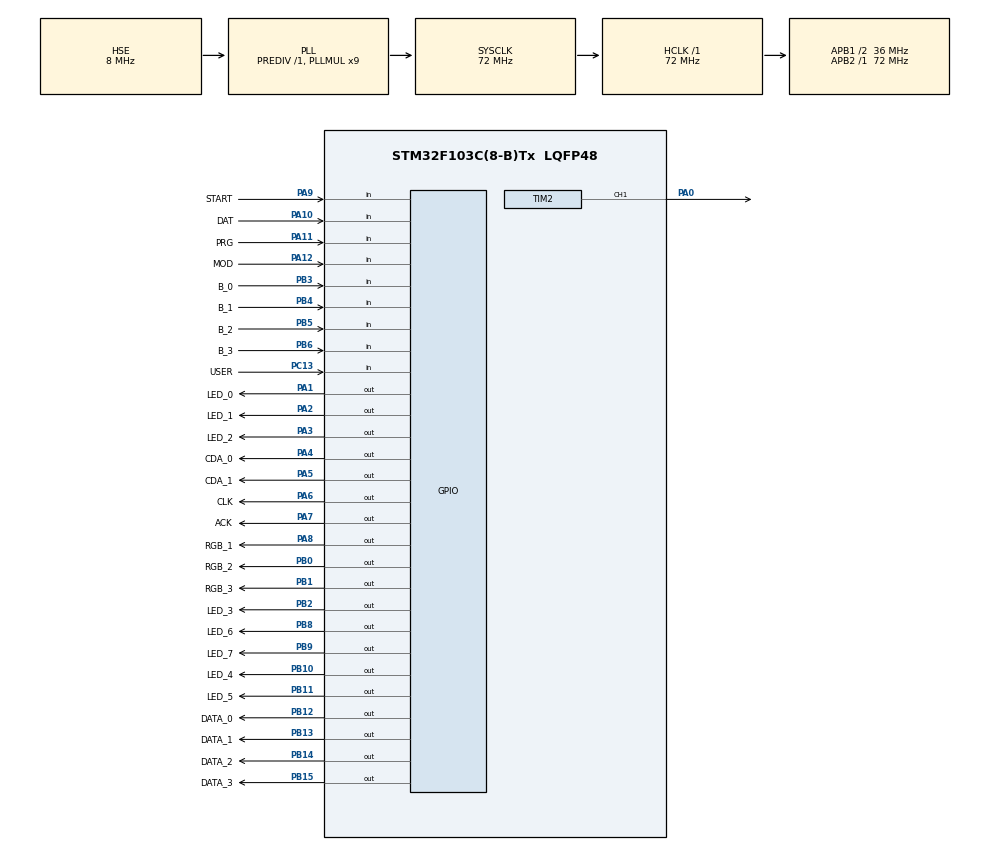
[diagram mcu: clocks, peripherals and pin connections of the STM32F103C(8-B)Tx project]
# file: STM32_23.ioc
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Mcu.Family=STM32F1
Mcu.Name=STM32F103C(8-B)Tx
Mcu.Package=LQFP48
NVIC.PriorityGroup=NVIC_PRIORITYGROUP_4
NVIC.TIM2_IRQn=true\:0\:0\:false\:false\:true\:true\:true\:true
PA0-WKUP.Signal=S_TIM2_CH1_ETR
PA1.GPIO_Label=LED_0
PA1.Signal=GPIO_Output
PA10.GPIO_Label=DAT
PA10.Signal=GPIO_Input
PA11.GPIO_Label=PRG
PA11.Signal=GPIO_Input
PA12.GPIO_Label=MOD
PA12.Signal=GPIO_Input
PA13.Mode=Serial_Wire
PA13.Signal=SYS_JTMS-SWDIO
PA14.Mode=Serial_Wire
PA14.Signal=SYS_JTCK-SWCLK
PA2.GPIO_Label=LED_1
PA2.Signal=GPIO_Output
PA3.GPIO_Label=LED_2
PA3.Signal=GPIO_Output
PA4.GPIO_Label=CDA_0
PA4.Signal=GPIO_Output
PA5.GPIO_Label=CDA_1
PA5.Signal=GPIO_Output
PA6.GPIO_Label=CLK
PA6.Signal=GPIO_Output
PA7.GPIO_Label=ACK
PA7.Signal=GPIO_Output
PA8.GPIO_Label=RGB_1
PA8.Signal=GPIO_Output
PA9.GPIO_Label=START
PA9.Signal=GPIO_Input
PB0.GPIO_Label=RGB_2
PB0.Signal=GPIO_Output
PB1.GPIO_Label=RGB_3
PB1.Signal=GPIO_Output
PB10.GPIO_Label=LED_4
PB10.Signal=GPIO_Output
PB11.GPIO_Label=LED_5
PB11.Signal=GPIO_Output
PB12.GPIO_Label=DATA_0
PB12.Signal=GPIO_Output
PB13.GPIO_Label=DATA_1
PB13.Signal=GPIO_Output
PB14.GPIO_Label=DATA_2
PB14.Signal=GPIO_Output
PB15.GPIO_Label=DATA_3
PB15.Signal=GPIO_Output
PB2.GPIO_Label=LED_3
PB2.Signal=GPIO_Output
PB3.GPIO_Label=B_0
PB3.Signal=GPIO_Input
PB4.GPIO_Label=B_1
PB4.Signal=GPIO_Input
PB5.GPIO_Label=B_2
PB5.Signal=GPIO_Input
PB6.GPIO_Label=B_3
PB6.Signal=GPIO_Input
PB8.GPIO_Label=LED_6
PB8.Signal=GPIO_Output
PB9.GPIO_Label=LED_7
PB9.Signal=GPIO_Output
PC13-TAMPER-RTC.GPIO_Label=USER
PC13-TAMPER-RTC.Signal=GPIO_Input
PD0-OSC_IN.Mode=HSE-External-Oscillator
PD0-OSC_IN.Signal=RCC_OSC_IN
PD1-OSC_OUT.Mode=HSE-External-Oscillator
PD1-OSC_OUT.Signal=RCC_OSC_OUT
ProjectManager.HeapSize=0x200
ProjectManager.StackSize=0x400
ProjectManager.TargetToolchain=STM32CubeIDE
RCC.AHBFreq_Value=72000000
RCC.APB1CLKDivider=RCC_HCLK_DIV2
RCC.APB1Freq_Value=36000000
RCC.APB1TimFreq_Value=72000000
RCC.APB2Freq_Value=72000000
RCC.APB2TimFreq_Value=72000000
RCC.HCLKFreq_Value=72000000
RCC.PLLMUL=RCC_PLL_MUL9
RCC.PLLSourceVirtual=RCC_PLLSOURCE_HSE
RCC.SYSCLKFreq_VALUE=72000000
RCC.SYSCLKSource=RCC_SYSCLKSOURCE_PLLCLK
RCC.USBFreq_Value=72000000
SH.S_TIM2_CH1_ETR.0=TIM2_CH1,Output Compare1 CH1
TIM2.Channel-Output\ Compare1\ CH1=TIM_CHANNEL_1
TIM2.Period=100
TIM2.Prescaler=7199
VP_TIM2_VS_ClockSourceINT.Mode=Internal
board=custom

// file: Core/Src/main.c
/* USER CODE BEGIN Header */
/**
  ******************************************************************************
  * @file           : main.c
  * @brief          : Main program body
  ******************************************************************************
  * @attention
  *
  * Copyright (c) 2025 STMicroelectronics.
  * All rights reserved.
  *
  * This software is licensed under terms that can be found in the LICENSE file
  * in the root directory of this software component.
  * If no LICENSE file comes with this software, it is provided AS-IS.
  *
  ******************************************************************************
  */
/* USER CODE END Header */
#include "main.h"

TIM_HandleTypeDef htim2;

/* USER CODE BEGIN PV */
typedef enum {
    STATE_0,  // Afișare PRG, MOD, DAT, START
    STATE_1,  // Așteaptă START
    STATE_2,  // Configurare CDA - CLK OUT, ACK IN, DATA OUT
    STATE_3,  // Așteaptă DAT
    STATE_4,  // Verificare MOD
    STATE_5,  // QAM-Tx - CLK OUT, ACK IN, DATA OUT
    STATE_6,  // QAM-Rx - CLK IN, ACK OUT, DATA IN
} FSM_State_t;// enumerare care defineste un nou tip de date

FSM_State_t currentState = STATE_0;  // Inițializare în stare 0

typedef enum {
    MODE_QAM_TX,  // Transmitere (ARM → DSP)
    MODE_QAM_RX   // Receptie (DSP → ARM)
} OperationMode_t;

OperationMode_t currentMode = MODE_QAM_TX;  // Inițializare pe transmitere
/* USER CODE END PV */

void SystemClock_Config(void);
static void MX_GPIO_Init(void);
static void MX_TIM2_Init(void);
/* USER CODE BEGIN PFP */
void ProcessFSM(void);
void Configure_GPIO_Mode(OperationMode_t mode);
/* USER CODE END PFP */

int main(void)
{

  /* MCU Configuration--------------------------------------------------------*/

  /* Reset of all peripherals, Initializes the Flash interface and the Systick. */
  HAL_Init();

  /* Configure the system clock */
  SystemClock_Config();

  /* Initialize all configured peripherals */
  MX_GPIO_Init();
  MX_TIM2_Init();
  /* USER CODE BEGIN 2 */
  HAL_NVIC_SetPriority(TIM2_IRQn, 0, 0);
  HAL_NVIC_EnableIRQ(TIM2_IRQn);
  HAL_TIM_Base_Start_IT(&htim2);

  Configure_GPIO_Mode(MODE_QAM_TX);  // Inițializare inițială în Tx
  /* USER CODE END 2 */

  /* Infinite loop */
  while (1)
  {

  }
}

void SystemClock_Config(void)
{
  RCC_OscInitTypeDef RCC_OscInitStruct = {0};
  RCC_ClkInitTypeDef RCC_ClkInitStruct = {0};

  /** Initializes the RCC Oscillators according to the specified parameters
  * in the RCC_OscInitTypeDef structure.
  */
  RCC_OscInitStruct.OscillatorType = RCC_OSCILLATORTYPE_HSE;
  RCC_OscInitStruct.HSEState = RCC_HSE_ON;
  RCC_OscInitStruct.HSEPredivValue = RCC_HSE_PREDIV_DIV1;
  RCC_OscInitStruct.HSIState = RCC_HSI_ON;
  RCC_OscInitStruct.PLL.PLLState = RCC_PLL_ON;
  RCC_OscInitStruct.PLL.PLLSource = RCC_PLLSOURCE_HSE;
  RCC_OscInitStruct.PLL.PLLMUL = RCC_PLL_MUL9;
  if (HAL_RCC_OscConfig(&RCC_OscInitStruct) != HAL_OK)
  {
    Error_Handler();
  }

  /** Initializes the CPU, AHB and APB buses clocks
  */
  RCC_ClkInitStruct.ClockType = RCC_CLOCKTYPE_HCLK|RCC_CLOCKTYPE_SYSCLK
                              |RCC_CLOCKTYPE_PCLK1|RCC_CLOCKTYPE_PCLK2;
  RCC_ClkInitStruct.SYSCLKSource = RCC_SYSCLKSOURCE_PLLCLK;
  RCC_ClkInitStruct.AHBCLKDivider = RCC_SYSCLK_DIV1;
  RCC_ClkInitStruct.APB1CLKDivider = RCC_HCLK_DIV2;
  RCC_ClkInitStruct.APB2CLKDivider = RCC_HCLK_DIV1;

  if (HAL_RCC_ClockConfig(&RCC_ClkInitStruct, FLASH_LATENCY_2) != HAL_OK)
  {
    Error_Handler();
  }
}

static void MX_TIM2_Init(void)
{

  TIM_ClockConfigTypeDef sClockSourceConfig = {0};
  TIM_MasterConfigTypeDef sMasterConfig = {0};
  TIM_OC_InitTypeDef sConfigOC = {0};

  htim2.Instance = TIM2;
  htim2.Init.Prescaler = 7199;
  htim2.Init.CounterMode = TIM_COUNTERMODE_UP;
  htim2.Init.Period = 100;
  htim2.Init.ClockDivision = TIM_CLOCKDIVISION_DIV1;
  htim2.Init.AutoReloadPreload = TIM_AUTORELOAD_PRELOAD_DISABLE;
  if (HAL_TIM_Base_Init(&htim2) != HAL_OK)
  {
    Error_Handler();
  }
  sClockSourceConfig.ClockSource = TIM_CLOCKSOURCE_INTERNAL;
  if (HAL_TIM_ConfigClockSource(&htim2, &sClockSourceConfig) != HAL_OK)
  {
    Error_Handler();
  }
  if (HAL_TIM_OC_Init(&htim2) != HAL_OK)
  {
    Error_Handler();
  }
  sMasterConfig.MasterOutputTrigger = TIM_TRGO_RESET;
  sMasterConfig.MasterSlaveMode = TIM_MASTERSLAVEMODE_DISABLE;
  if (HAL_TIMEx_MasterConfigSynchronization(&htim2, &sMasterConfig) != HAL_OK)
  {
    Error_Handler();
  }
  sConfigOC.OCMode = TIM_OCMODE_TIMING;
  sConfigOC.Pulse = 0;
  sConfigOC.OCPolarity = TIM_OCPOLARITY_HIGH;
  sConfigOC.OCFastMode = TIM_OCFAST_DISABLE;
  if (HAL_TIM_OC_ConfigChannel(&htim2, &sConfigOC, TIM_CHANNEL_1) != HAL_OK)
  {
    Error_Handler();
  }
  HAL_TIM_MspPostInit(&htim2);

}

static void MX_GPIO_Init(void)
{
  GPIO_InitTypeDef GPIO_InitStruct = {0};

  /* GPIO Ports Clock Enable */
  __HAL_RCC_GPIOC_CLK_ENABLE();
  __HAL_RCC_GPIOD_CLK_ENABLE();
  __HAL_RCC_GPIOA_CLK_ENABLE();
  __HAL_RCC_GPIOB_CLK_ENABLE();

  /*Configure GPIO pin Output Level */
  HAL_GPIO_WritePin(GPIOA, LED_0_Pin|LED_1_Pin|LED_2_Pin|CDA_0_Pin
                          |CDA_1_Pin|CLK_Pin|ACK_Pin|RGB_1_Pin, GPIO_PIN_RESET);

  /*Configure GPIO pin Output Level */
  HAL_GPIO_WritePin(GPIOB, RGB_2_Pin|RGB_3_Pin|LED_3_Pin|LED_4_Pin
                          |LED_5_Pin|DATA_0_Pin|DATA_1_Pin|DATA_2_Pin
                          |DATA_3_Pin|LED_6_Pin|LED_7_Pin, GPIO_PIN_RESET);

  /*Configure GPIO pin : USER_Pin */
  GPIO_InitStruct.Pin = USER_Pin;
  GPIO_InitStruct.Mode = GPIO_MODE_INPUT;
  GPIO_InitStruct.Pull = GPIO_NOPULL;
  HAL_GPIO_Init(USER_GPIO_Port, &GPIO_InitStruct);

  /*Configure GPIO pins : LED_0_Pin LED_1_Pin LED_2_Pin CDA_0_Pin
                           CDA_1_Pin CLK_Pin ACK_Pin RGB_1_Pin */
  GPIO_InitStruct.Pin = LED_0_Pin|LED_1_Pin|LED_2_Pin|CDA_0_Pin
                          |CDA_1_Pin|CLK_Pin|ACK_Pin|RGB_1_Pin;
  GPIO_InitStruct.Mode = GPIO_MODE_OUTPUT_PP;
  GPIO_InitStruct.Pull = GPIO_NOPULL;
  GPIO_InitStruct.Speed = GPIO_SPEED_FREQ_LOW;
  HAL_GPIO_Init(GPIOA, &GPIO_InitStruct);

  /*Configure GPIO pins : RGB_2_Pin RGB_3_Pin LED_3_Pin LED_4_Pin
                           LED_5_Pin DATA_0_Pin DATA_1_Pin DATA_2_Pin
                           DATA_3_Pin LED_6_Pin LED_7_Pin */
  GPIO_InitStruct.Pin = RGB_2_Pin|RGB_3_Pin|LED_3_Pin|LED_4_Pin
                          |LED_5_Pin|DATA_0_Pin|DATA_1_Pin|DATA_2_Pin
                          |DATA_3_Pin|LED_6_Pin|LED_7_Pin;
  GPIO_InitStruct.Mode = GPIO_MODE_OUTPUT_PP;
  GPIO_InitStruct.Pull = GPIO_NOPULL;
  GPIO_InitStruct.Speed = GPIO_SPEED_FREQ_LOW;
  HAL_GPIO_Init(GPIOB, &GPIO_InitStruct);

  /*Configure GPIO pins : START_Pin DAT_Pin PRG_Pin MOD_Pin */
  GPIO_InitStruct.Pin = START_Pin|DAT_Pin|PRG_Pin|MOD_Pin;
  GPIO_InitStruct.Mode = GPIO_MODE_INPUT;
  GPIO_InitStruct.Pull = GPIO_NOPULL;
  HAL_GPIO_Init(GPIOA, &GPIO_InitStruct);

  /*Configure GPIO pins : B_0_Pin B_1_Pin B_2_Pin B_3_Pin */
  GPIO_InitStruct.Pin = B_0_Pin|B_1_Pin|B_2_Pin|B_3_Pin;
  GPIO_InitStruct.Mode = GPIO_MODE_INPUT;
  GPIO_InitStruct.Pull = GPIO_NOPULL;
  HAL_GPIO_Init(GPIOB, &GPIO_InitStruct);

}

/* USER CODE BEGIN 4 */

static uint8_t cda;
void ARM_WR_CDA(void)
{
    static int subState = 10;

    switch (subState)
    {
        case 10:
            // Calculare CDA = 2 * PRG + MOD
            uint8_t prg = HAL_GPIO_ReadPin(GPIOA, PRG_PIN); // PRG
            uint8_t mod = HAL_GPIO_ReadPin(GPIOA, MOD_PIN); // MOD
            cda = 2 * prg + mod;

            subState = 11;
            break;

        case 11:
            HAL_GPIO_WritePin(GPIOA, CLK_PIN, GPIO_PIN_RESET); // CLK LOW
            // Scriem bitii CDA pe PA4 (bit0) și PA5 (bit1)
            HAL_GPIO_WritePin(GPIOA, CDA_0_PIN, (cda & 0x01) ? GPIO_PIN_SET : GPIO_PIN_RESET);
            HAL_GPIO_WritePin(GPIOA, CDA_0_PIN, (cda & 0x02) ? GPIO_PIN_SET : GPIO_PIN_RESET);
            subState = 12;
            break;

        case 12:
            HAL_GPIO_WritePin(GPIOA, CLK_PIN, GPIO_PIN_SET);   // CLK HIGH
            subState = 13;
            break;

        case 13:
            // Asteapta ca DSP-ul sa traga ACK pe 0 (LOW)
            if (HAL_GPIO_ReadPin(GPIOA, ACK_PIN) == GPIO_PIN_RESET)
            {
                subState = 14;
            }
            break;

        case 14:
            // Asteapta ca DSP-ul sa ridice ACK pe 1 (HIGH)
            if (HAL_GPIO_ReadPin(GPIOA, ACK_PIN) == GPIO_PIN_SET)
            {
                subState = 10;
                currentState = STATE_0; // Revenim la starea initiala
            }
            break;

    }
}

void ARM_WR_DATA(void)
{
    static int subState = 30;

    switch (subState)
    {
        case 30:
            uint8_t D0   = HAL_GPIO_ReadPin(GPIOB, B_0_Pin);
            uint8_t D1   = HAL_GPIO_ReadPin(GPIOB, B_1_Pin);
            uint8_t D2   = HAL_GPIO_ReadPin(GPIOB, B_2_Pin);
            uint8_t D3 = HAL_GPIO_ReadPin(GPIOB, B_3_Pin);

            HAL_GPIO_WritePin(GPIOB, DATA_0_Pin, D0);
            HAL_GPIO_WritePin(GPIOB, DATA_1_Pin, D1);
            HAL_GPIO_WritePin(GPIOB, DATA_2_Pin, D2);
            HAL_GPIO_WritePin(GPIOB, DATA_3_Pin, D3);

            // CLK = 0
            HAL_GPIO_WritePin(GPIOA, CLK_PIN, GPIO_PIN_RESET);
            subState = 31;
            break;

        case 31:
            // CLK = 1 (trimitem semnal de ceas)
            HAL_GPIO_WritePin(GPIOA, CLK_PIN, GPIO_PIN_SET);
            subState = 32;
            break;

        case 32:
            // Așteptăm ca ACK să devină 0 (de la DSP)
            if (HAL_GPIO_ReadPin(GPIOA, ACK_PIN) == GPIO_PIN_RESET)
                subState = 33;
            break;

        case 33:
            // Așteptăm ACK = 1 => confirmare finală
            if (HAL_GPIO_ReadPin(GPIOA, ACK_PIN) == GPIO_PIN_SET)
            {
                subState = 30;
                currentState = STATE_0; // revenim la starea inițială
            }
            break;
    }
}

void ARM_RD_DATA(void)
{
    static int subState = 60;

    switch (subState)
    {
        case 60:
            // Așteptăm CLK să fie LOW
            if (HAL_GPIO_ReadPin(GPIOA, CLK_Pin) == GPIO_PIN_RESET)
                subState = 61;
            break;

        case 61:
            // Așteptăm CLK să devină HIGH
            if (HAL_GPIO_ReadPin(GPIOA, CLK) == GPIO_PIN_SET)
                subState = 62;
            break;

        case 62:
        {
        	uint8_t received_data = (HAL_GPIO_ReadPin(GPIOB, DATA_0_Pin) << 3) |
        	                        (HAL_GPIO_ReadPin(GPIOB, DATA_1_Pin) << 2) |
        	                        (HAL_GPIO_ReadPin(GPIOB, DATA_2_Pin) << 1) |
        	                        (HAL_GPIO_ReadPin(GPIOB, DATA_3_Pin));

        	HAL_GPIO_WritePin(GPIOB, LED_4_PIN, received_data & 0x01 ? GPIO_PIN_SET : GPIO_PIN_RESET); // LED0
        	HAL_GPIO_WritePin(GPIOB, LED_5_PIN, received_data & 0x02 ? GPIO_PIN_SET : GPIO_PIN_RESET); // LED1
        	HAL_GPIO_WritePin(GPIOB, LED_6_PIN, received_data & 0x04 ? GPIO_PIN_SET : GPIO_PIN_RESET); // LED2
        	HAL_GPIO_WritePin(GPIOB, LED_7_PIN, received_data & 0x08 ? GPIO_PIN_SET : GPIO_PIN_RESET); // LED3

            // ACK = 0
            HAL_GPIO_WritePin(GPIOA, ACK_PIN, GPIO_PIN_RESET);
            subState = 63;
        }

        case 63:
            // ACK = 1
            HAL_GPIO_WritePin(GPIOA, ACK_PIN, GPIO_PIN_SET);

            if (HAL_GPIO_ReadPin(GPIOA, ACK_PIN) == GPIO_PIN_SET)
            {
                subState = 60;
                currentState = STATE_0;
            }
            break;

        default:
            break;
    }
}

void ProcessFSM(void)// automat cu stari finite
{

	// Aprindere LED-uri externe în funcție de butoane apăsate
    uint8_t prg   = HAL_GPIO_ReadPin(GPIOA, PRG_PIN);
    uint8_t mod   = HAL_GPIO_ReadPin(GPIOA, MOD_PIN);
    uint8_t dat   = HAL_GPIO_ReadPin(GPIOA, DAT_PIN);
    uint8_t start = HAL_GPIO_ReadPin(GPIOA, START_PIN);

    HAL_GPIO_WritePin(GPIOA, LED_0_PIN,  prg   ? GPIO_PIN_SET : GPIO_PIN_RESET); // PRG extern
    HAL_GPIO_WritePin(GPIOA, LED_1_PIN,  mod   ? GPIO_PIN_SET : GPIO_PIN_RESET); // MOD extern
    HAL_GPIO_WritePin(GPIOA, LED_2_PIN,  dat   ? GPIO_PIN_SET : GPIO_PIN_RESET); // DAT extern
    HAL_GPIO_WritePin(GPIOB, LED_3_PIN, start ? GPIO_PIN_SET : GPIO_PIN_RESET); // START extern

    switch (currentState)
    {
        case STATE_0:
            // resetare data
            HAL_GPIO_WritePin(GPIOB, DATA_3_PIN, GPIO_PIN_RESET); // DATA3 OFF
            HAL_GPIO_WritePin(GPIOB, DATA_2_PIN, GPIO_PIN_RESET); // DATA2 OFF
            HAL_GPIO_WritePin(GPIOB, DATA_1_PIN, GPIO_PIN_RESET); // DATA1 OFF
            HAL_GPIO_WritePin(GPIOB, DATA_0_PIN, GPIO_PIN_RESET); // DATA0 OFF

            currentState = STATE_1;
            break;

        case STATE_1:
            if (HAL_GPIO_ReadPin(GPIOA, START_PIN) == GPIO_PIN_SET) // START apasat
            {
                currentState = STATE_2;
            }
            break;

        case STATE_2:
            // Configurare CLK OUT, ACK IN, DATA OUT
            Configure_GPIO_Mode(MODE_QAM_TX);

            ARM_WR_CDA();

            currentState = STATE_3;
            break;

        case STATE_3:
            if (HAL_GPIO_ReadPin(GPIOA, DAT_PIN) == GPIO_PIN_SET) // DAT apasat
            {
                currentState = STATE_4;
            }
            break;

        case STATE_4:
            if (HAL_GPIO_ReadPin(GPIOA, MOD_PIN) == GPIO_PIN_RESET) // MOD = 1 (Tx)
            {
                currentState = STATE_5;
            }
            else  // MOD = 0 (Rx)
            {
                currentState = STATE_6;
            }
            break;

        case STATE_5:
            // Setam directia GPIO pentru transmisie
            Configure_GPIO_Mode(MODE_QAM_TX);

            // Generam semnal de CLK pentru a semnala ca datele sunt gata
            HAL_GPIO_WritePin(GPIOA, CLK_PIN, GPIO_PIN_SET); // CLK HIGH
            HAL_Delay(1); // Mic delay pentru stabilitate

            HAL_GPIO_WritePin(GPIOA, CLK_PIN, GPIO_PIN_RESET); // CLK LOW
            HAL_Delay(1); // Mic delay

            // Așteptăm ACK de la DSP (PA7 trebuie să devină HIGH)
            while (HAL_GPIO_ReadPin(GPIOA, ACK_PIN) == GPIO_PIN_RESET)
            {
                // Așteaptă
            }

            // (Opțional) Așteptăm să revină ACK la 0 (front de coborâre)
            while (HAL_GPIO_ReadPin(GPIOA, ACK_PIN) == GPIO_PIN_SET)
            {
                // Așteaptă ACK să fie eliberat
            }

            // Aprindere LED-uri corespunzătoare datelor transmise/ simbolului QAM transmis
            uint8_t d0 = HAL_GPIO_ReadPin(GPIOB, DATA_0_PIN); // DATA0
            uint8_t d1 = HAL_GPIO_ReadPin(GPIOB, DATA_1_PIN); // DATA1
            uint8_t d2 = HAL_GPIO_ReadPin(GPIOB, DATA_2_PIN); // DATA2
            uint8_t d3 = HAL_GPIO_ReadPin(GPIOB, DATA_3_PIN); // DATA3

            HAL_GPIO_WritePin(GPIOB, LED_4_PIN, d0 ? GPIO_PIN_SET : GPIO_PIN_RESET); // LED0
            HAL_GPIO_WritePin(GPIOB, LED_5_PIN, d1 ? GPIO_PIN_SET : GPIO_PIN_RESET); // LED1
            HAL_GPIO_WritePin(GPIOB, LED_6_PIN, d2 ? GPIO_PIN_SET : GPIO_PIN_RESET); // LED2
            HAL_GPIO_WritePin(GPIOB, LED_7_PIN, d3 ? GPIO_PIN_SET : GPIO_PIN_RESET); // LED3

            ARM_WR_DATA();
            currentState = STATE_0; // Revenim la stare inițială
            break;

        case STATE_6:
            // Setam directia GPIO pentru receptie
            Configure_GPIO_Mode(MODE_QAM_RX);

            // Asteptam semnal de ceas de la DSP
            if (HAL_GPIO_ReadPin(GPIOA, GPIO_PIN_6) == GPIO_PIN_SET) // CLK HIGH detectat
            {
                // Citim datele de la DSP
                uint8_t received_data = (HAL_GPIO_ReadPin(GPIOB, DATA_3_PIN) << 3) |
                                        (HAL_GPIO_ReadPin(GPIOB, DATA_2_PIN) << 2) |
                                        (HAL_GPIO_ReadPin(GPIOB, DATA_1_PIN) << 1) |
                                        (HAL_GPIO_ReadPin(GPIOB, DATA_0_PIN));

                //extragere biti din byte
                uint8_t d0 = received_data & 0x01;
                uint8_t d1 = (received_data >> 1) & 0x01;
                uint8_t d2 = (received_data >> 2) & 0x01;
                uint8_t d3 = (received_data >> 3) & 0x01;

                HAL_GPIO_WritePin(GPIOB, LED_4_PIN, d0 ? GPIO_PIN_SET : GPIO_PIN_RESET); // LED0
                HAL_GPIO_WritePin(GPIOB, LED_5_PIN, d1 ? GPIO_PIN_SET : GPIO_PIN_RESET); // LED1
                HAL_GPIO_WritePin(GPIOB, LED_6_PIN, d2 ? GPIO_PIN_SET : GPIO_PIN_RESET); // LED2
                HAL_GPIO_WritePin(GPIOB, LED_7_PIN, d3 ? GPIO_PIN_SET : GPIO_PIN_RESET); // LED3

                // Trimitem semnal de confirmare (ACK)
                HAL_GPIO_WritePin(GPIOA, ACK_PIN, GPIO_PIN_SET); // ACK HIGH
                HAL_Delay(100);
                HAL_GPIO_WritePin(GPIOA, ACK_PIN, GPIO_PIN_RESET); // ACK LOW

                ARM_RD_DATA();

                currentState = STATE_0;
            }
            break;

    }
}

void Configure_GPIO_Mode(OperationMode_t mode)
{
    GPIO_InitTypeDef GPIO_InitStruct = {0};

    GPIO_InitStruct.Pin = DATA_0_PIN | DATA_1_PIN | DATA_2_PIN | DATA_3_PIN;
    GPIO_InitStruct.Mode = (mode == MODE_QAM_TX) ? GPIO_MODE_OUTPUT_PP : GPIO_MODE_INPUT;
    GPIO_InitStruct.Pull = GPIO_NOPULL;
    HAL_GPIO_Init(GPIOB, &GPIO_InitStruct);

    GPIO_InitStruct.Pin = CLK_PIN;
    GPIO_InitStruct.Mode = (mode == MODE_QAM_TX) ? GPIO_MODE_OUTPUT_PP : GPIO_MODE_INPUT;
    HAL_GPIO_Init(GPIOA, &GPIO_InitStruct);

    GPIO_InitStruct.Pin = ACK_PIN;
    GPIO_InitStruct.Mode = (mode == MODE_QAM_TX) ? GPIO_MODE_INPUT : GPIO_MODE_OUTPUT_PP;
    HAL_GPIO_Init(GPIOA, &GPIO_InitStruct);
}

void HAL_TIM_PeriodElapsedCallback(TIM_HandleTypeDef *htim)
{
    if (htim->Instance == TIM2)
    {
        ProcessFSM();
    }
}

/* USER CODE END 4 */

void Error_Handler(void)
{
  __disable_irq();
  while (1)
  {
  }
}
